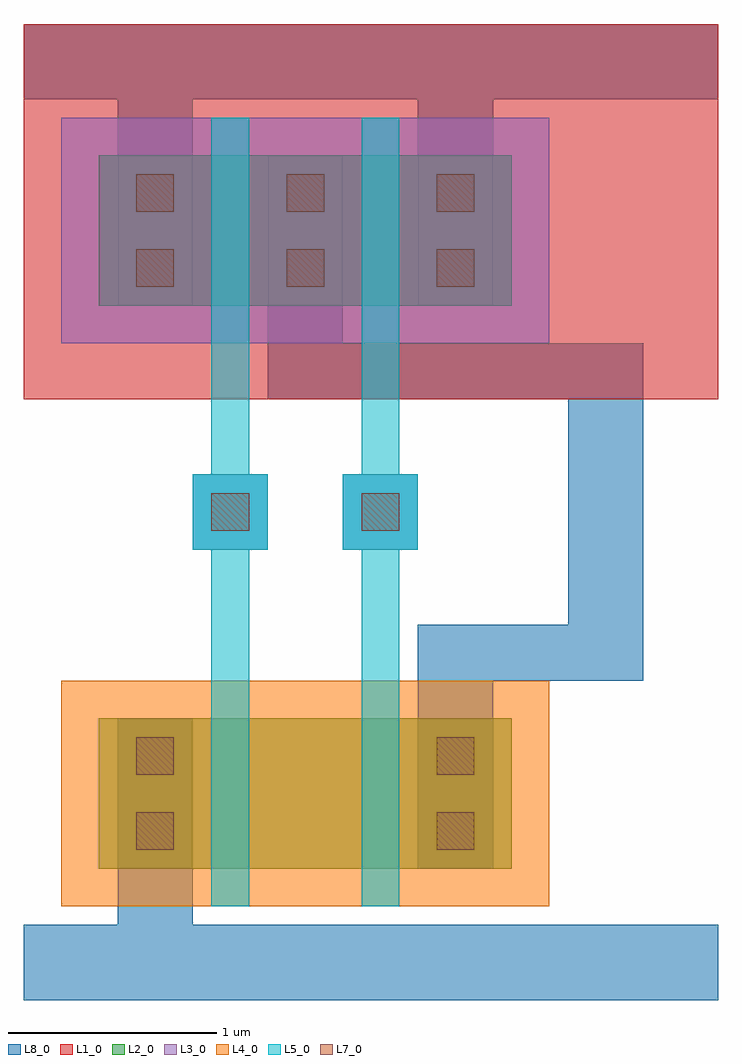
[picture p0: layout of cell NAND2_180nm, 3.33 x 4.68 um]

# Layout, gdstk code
import gdstk
lib = gdstk.Library(unit=1e-6, precision=1e-12)
def R(c, l, rs):  # rectangles x0, y0, x1, y1
    for r in rs: c.add(gdstk.rectangle(r[:2], r[2:], *l))
def A(c, l, x, y, w, h, nx, ny, dx, dy):  # array of equal rectangles
    R(c, l, [(x+i*dx, y+j*dy, x+i*dx+w, y+j*dy+h) for i in range(nx) for j in range(ny)])
L1_0 = (1, 0)
L2_0 = (2, 0)
L3_0 = (3, 0)
L4_0 = (4, 0)
L5_0 = (5, 0)
L7_0 = (7, 0)
L8_0 = (8, 0)

nand2_180nm = lib.new_cell('NAND2_180nm')
R(nand2_180nm, L1_0, [(0,2.88,3.33,4.68)])
A(nand2_180nm, L2_0, 0.36, 0.63, 0.54, 0.72, 3, 2, 0.72, 2.7)
R(nand2_180nm, L2_0, [(0.9,0.63,1.08,1.35), (1.62,0.63,1.8,1.35), (0.9,3.33,1.08,4.05), (1.62,3.33,1.8,4.05)])
R(nand2_180nm, L3_0, [(0.18,3.15,2.52,4.23)])
R(nand2_180nm, L4_0, [(0.18,0.45,2.52,1.53)])
R(nand2_180nm, L5_0, [(0.9,0.45,1.08,4.23), (1.62,0.45,1.8,4.23), (0.81,2.16,1.17,2.52), (1.53,2.16,1.89,2.52)])
A(nand2_180nm, L7_0, 0.54, 3.42, 0.18, 0.18, 3, 2, 0.72, 0.36)
R(nand2_180nm, L7_0, [(0.54,0.72,0.72,0.9), (1.98,0.72,2.16,0.9), (0.54,1.08,0.72,1.26), (1.98,1.08,2.16,1.26), (0.9,2.25,1.08,2.43), (1.62,2.25,1.8,2.43)])
R(nand2_180nm, L8_0, [(0,0,3.33,0.36), (0.45,0,0.81,1.35), (1.89,0.63,2.25,1.8), (1.89,1.53,2.97,1.8), (2.61,1.53,2.97,3.15), (0.81,2.16,1.17,2.52), (1.53,2.16,1.89,2.52), (1.17,2.88,1.53,4.05), (1.17,2.88,2.97,3.15), (0.45,3.33,0.81,4.68), (1.89,3.33,2.25,4.68), (0,4.32,3.33,4.68)])

lib.write_gds('NAND2_180nm.gds')
